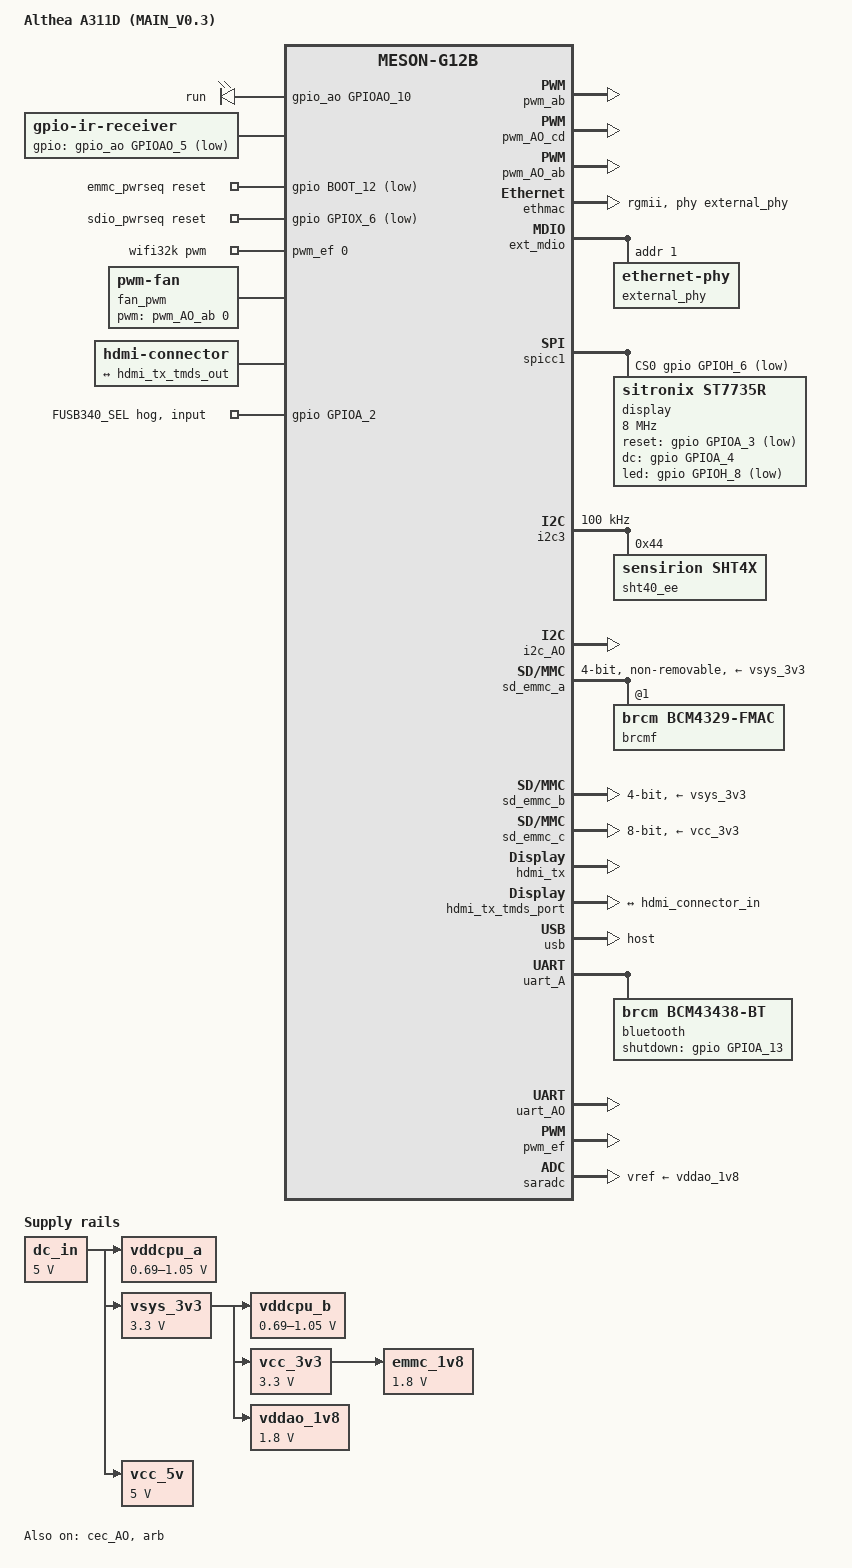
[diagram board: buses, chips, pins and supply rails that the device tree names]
// SPDX-License-Identifier: (GPL-2.0+ OR MIT)
/*
 * Althea A311D (MAIN_V0.3) — USB3.0 变体
 * 派生自 Khadas VIM3，骨架为 mainline 6.18。
 * 另一变体：meson-halo-a311d-pcie.dts（&pcie okay / &usb disabled）。
 * 两者只差 FUSB340 对 usb3_pcie_phy 的归属，见 docs/冷切换使用说明.md。
 */

/dts-v1/;

#include <dt-bindings/gpio/meson-g12a-gpio.h>
#include <dt-bindings/gpio/gpio.h>
#include <dt-bindings/leds/common.h>
#include <dt-bindings/input/linux-event-codes.h>
#include <dt-bindings/interrupt-controller/irq.h>
#include <dt-bindings/interrupt-controller/amlogic,meson-g12a-gpio-intc.h>
/* 只 include a311d 一份：s922x 的同名 opp-table 会被 dtc 合并成混搭表 */
#include "meson-g12b-a311d.dtsi"

/ {
	model = "Althea A311D (MAIN_V0.3)";
	compatible = "althea,a311d", "amlogic,a311d", "amlogic,g12b";

	aliases {
		serial0 = &uart_AO;
		ethernet0 = &ethmac;
		/* 无外置 RTC，用 SoC vrtc */
		rtc0 = &vrtc;
	};

	chosen {
		stdout-path = "serial0:115200n8";
	};

	/* 大核 A73 供电：MP8756GD，pwm_ab 通道 A */
	vddcpu_a: regulator-vddcpu-a {
		compatible = "pwm-regulator";
		regulator-name = "VDDCPU_A";
		regulator-min-microvolt = <690000>;
		regulator-max-microvolt = <1050000>;

		pwm-supply = <&dc_in>;
		pwms = <&pwm_ab 0 1250 0>;
		pwm-dutycycle-range = <100 0>;

		regulator-boot-on;
		regulator-always-on;
	};

	/* 小核 A53 供电：SY8030DEC，pwm_AO_cd 通道 D */
	vddcpu_b: regulator-vddcpu-b {
		compatible = "pwm-regulator";
		regulator-name = "VDDCPU_B";
		regulator-min-microvolt = <690000>;
		regulator-max-microvolt = <1050000>;

		pwm-supply = <&vsys_3v3>;
		pwms = <&pwm_AO_cd 1 1250 0>;
		pwm-dutycycle-range = <100 0>;

		regulator-boot-on;
		regulator-always-on;
	};

	dc_in: regulator-dc-in {
		compatible = "regulator-fixed";
		regulator-name = "DC_IN";
		regulator-min-microvolt = <5000000>;
		regulator-max-microvolt = <5000000>;
		regulator-always-on;
	};

	vsys_3v3: regulator-vsys-3v3 {
		compatible = "regulator-fixed";
		regulator-name = "VSYS_3V3";
		regulator-min-microvolt = <3300000>;
		regulator-max-microvolt = <3300000>;
		vin-supply = <&dc_in>;
		regulator-always-on;
	};

	vcc_5v: regulator-vcc-5v {
		compatible = "regulator-fixed";
		regulator-name = "VCC_5V";
		regulator-min-microvolt = <5000000>;
		regulator-max-microvolt = <5000000>;
		vin-supply = <&dc_in>;
		regulator-always-on;
	};

	/* MT9700 EN 已改电阻上拉常开 → GPIOAO_11 释放，不做 GPIO 使能 */
	vcc_3v3: regulator-vcc-3v3 {
		compatible = "regulator-fixed";
		regulator-name = "VCC_3V3";
		regulator-min-microvolt = <3300000>;
		regulator-max-microvolt = <3300000>;
		vin-supply = <&vsys_3v3>;
		regulator-always-on;
	};

	vddao_1v8: regulator-vddao-1v8 {
		compatible = "regulator-fixed";
		regulator-name = "VDDIO_AO1V8";
		regulator-min-microvolt = <1800000>;
		regulator-max-microvolt = <1800000>;
		vin-supply = <&vsys_3v3>;
		regulator-always-on;
	};

	emmc_1v8: regulator-emmc-1v8 {
		compatible = "regulator-fixed";
		regulator-name = "EMMC_AO1V8";
		regulator-min-microvolt = <1800000>;
		regulator-max-microvolt = <1800000>;
		vin-supply = <&vcc_3v3>;
		regulator-always-on;
	};

	/* LED4: NPN 低边开关，高电平点亮 → GPIO_ACTIVE_HIGH。
	 * 属性名必须是 linux,default-trigger / default-state（旧名内核不读）。 */
	leds {
		compatible = "gpio-leds";

		run_led {
			label = "run";
			gpios = <&gpio_ao GPIOAO_10 GPIO_ACTIVE_HIGH>;
			linux,default-trigger = "heartbeat";
			default-state = "on";
		};
	};

	ir-receiver {
		compatible = "gpio-ir-receiver";
		gpios = <&gpio_ao GPIOAO_5 GPIO_ACTIVE_LOW>;
	};

	/* eMMC 上电时序 */
	emmc_pwrseq: emmc-pwrseq {
		compatible = "mmc-pwrseq-emmc";
		reset-gpios = <&gpio BOOT_12 GPIO_ACTIVE_LOW>;
	};

	/* SDIO (AP6256) 上电时序 —— 用 GPIOX_6 */
	sdio_pwrseq: sdio-pwrseq {
		compatible = "mmc-pwrseq-simple";
		reset-gpios = <&gpio GPIOX_6 GPIO_ACTIVE_LOW>;
		clocks = <&wifi32k>;
		clock-names = "ext_clock";
		/* WL_REG_ON 释放后等待 AP6256 上电稳定 */
		post-power-on-delay-ms = <100>;
	};

	/* 32.768kHz 时钟（AP6256 需求） */
	wifi32k: wifi32k {
		compatible = "pwm-clock";
		#clock-cells = <0>;
		clock-frequency = <32768>;
		pwms = <&pwm_ef 0 30518 0>; /* PWM_E at 32.768KHz */
	};

	/* 风扇 PWM：pwm_AO_cd 的 D 通道已被 vddcpu_b 占用，改用 pwm_AO_ab(A)/GPIOAO_11。
	 * 驱动电路 layout 未完成，本节点仅预留通道，风扇不会转。 */
	fan_pwm: fan-pwm {
		compatible = "pwm-fan";
		pwms = <&pwm_AO_ab 0 1250 0>;
	};

	hdmi-connector {
		compatible = "hdmi-connector";
		type = "a";

		port {
			hdmi_connector_in: endpoint {
				remote-endpoint = <&hdmi_tx_tmds_out>;
			};
		};
	};

};

&cpu0 {
	cpu-supply = <&vddcpu_b>;      /* A53 小核 */
	operating-points-v2 = <&cpu_opp_table_0>;
	clocks = <&clkc CLKID_CPU_CLK>;
};

&cpu1 {
	cpu-supply = <&vddcpu_b>;
	operating-points-v2 = <&cpu_opp_table_0>;
	clocks = <&clkc CLKID_CPU_CLK>;
};

&cpu100 {
	cpu-supply = <&vddcpu_a>;      /* A73 大核 */
	operating-points-v2 = <&cpub_opp_table_1>;
	clocks = <&clkc CLKID_CPUB_CLK>;
};

&cpu101 {
	cpu-supply = <&vddcpu_a>;
	operating-points-v2 = <&cpub_opp_table_1>;
	clocks = <&clkc CLKID_CPUB_CLK>;
};

&cpu102 {
	cpu-supply = <&vddcpu_a>;
	operating-points-v2 = <&cpub_opp_table_1>;
	clocks = <&clkc CLKID_CPUB_CLK>;
};

&cpu103 {
	cpu-supply = <&vddcpu_a>;
	operating-points-v2 = <&cpub_opp_table_1>;
	clocks = <&clkc CLKID_CPUB_CLK>;
};

/* pwm_ab 通道0(A) → GPIOE_2 = VDDCPU_A_PWM（大核 A73） */
&pwm_ab {
	pinctrl-0 = <&pwm_a_e_pins>;
	pinctrl-names = "default";
	status = "okay";
};

/* pwm_AO_cd 通道1(D) → GPIOE_1 = VDDCPU_B_PWM（小核 A53） */
&pwm_AO_cd {
	pinctrl-0 = <&pwm_ao_d_e_pins>;
	pinctrl-names = "default";
	status = "okay";
};

/* pwm_AO_ab 通道0(A) → GPIOAO_11 = 散热风扇 PWM */
&pwm_AO_ab {
	pinctrl-0 = <&pwm_ao_a_pins>;
	pinctrl-names = "default";
	status = "okay";
};

/* YT8531H-CA @ MDIO addr 1（VIM3 是 0）。
 * phy-mode="rgmii" + amlogic,tx-delay-ns=<2>；不要写 rx-internal-delay-ps，
 * 不要用 rgmii-id/rgmii-rxid，底板 R62/R70 不贴（真机 1Gbps 验证）。 */
&ethmac {
	pinctrl-0 = <&eth_pins>, <&eth_rgmii_pins>;
	pinctrl-names = "default";
	status = "okay";
	phy-mode = "rgmii";
	phy-handle = <&external_phy>;
	amlogic,tx-delay-ns = <2>;
};

&ext_mdio {
	external_phy: ethernet-phy@1 {   /* ⚠ 非 VIM3 的 @0 */
		reg = <1>;
		max-speed = <1000>;

		/* RGMII_INT: GPIOZ_14，低有效 → 下降沿 */
		interrupt-parent = <&gpio_intc>;
		interrupts = <IRQID_GPIOZ_14 IRQ_TYPE_EDGE_FALLING>;

		/* LED1(绿)/LED2(黄) 与 CFG_LDO 复用；0x2670 = 任意速率链路 + 活动，
		 * 0x2640 = 1000M 链路 + 活动。需 patch/apply/meson64-6.18 的 motorcomm LED 支持。 */
		motorcomm,led1-config = <0x2670>;
		motorcomm,led2-config = <0x2640>;
	};
};

/* FUSB340 SEL(GPIOA_2) 决定 usb3_pcie_phy 归 PCIe 还是 USB3.0。
 * PHY 归属在 DTB 编译期定死，不能运行期热切换；冷切换由 U-Boot 按 strap
 * 选 fdtfile，见 docs/冷切换使用说明.md。 */

/* SPI_B 控制器 = SPI1，GPIOH_4~7 */
/* SS0 是独立 pinctrl 组，需单独列出 */
&spicc1 {
	status = "okay";

	pinctrl-0 = <&spicc1_pins>, <&spicc1_ss0_pins>;
	pinctrl-names = "default";

	num-cs = <1>;
	cs-gpios = <&gpio GPIOH_6 GPIO_ACTIVE_LOW>;	/* SPI_B_SS0 = GPIOH_6 */

	/* ST7735S 共用 fbtft 的 fb_st7735r（v6.18 无单独 st7735s）。
	 * 极性依 fbtft-core.c：RST/LED 低有效、DC 高有效；buswidth=8 必填。 */
	display@0 {
		compatible = "sitronix,st7735r";
		reg = <0>;
		spi-max-frequency = <8000000>;
		reset-gpios = <&gpio GPIOA_3 GPIO_ACTIVE_LOW>;
		dc-gpios = <&gpio GPIOA_4 GPIO_ACTIVE_HIGH>;
		led-gpios = <&gpio GPIOH_8 GPIO_ACTIVE_LOW>;
		buswidth = <8>;
	};
};

/* FUSB340 SEL 电平由板上选贴的上/下拉决定，U-Boot 读它选 dtb。
 * hog 必须是 gpio-controller 的子节点，且必须显式写 input（不驱动 strap）。
 * input hog 会占用该线，userspace 无法再 export。 */
&gpio {
	fusb340-sel-hog {
		gpio-hog;
		gpios = <GPIOA_2 GPIO_ACTIVE_HIGH>;
		input;
		line-name = "FUSB340_SEL";
	};
};

/* U42 SHT40 —— I2C3 @ GPIOA_14(SDA)/GPIOA_15(SCL) */
&i2c3 {
	status = "okay";
	pinctrl-0 = <&i2c3_sda_a_pins>, <&i2c3_sck_a_pins>;
	pinctrl-names = "default";
	clock-frequency = <100000>;

	sht40_ee: sht40@44 {
		compatible = "sensirion,sht4x";
		reg = <0x44>;
	};
};

/* AO 域 I2C 控制器保留但不挂设备：U45 的 SDA/SCL 在网表上悬空，
 * 板上也没有 RTC 芯片。 */
&i2c_AO {
	status = "okay";
	pinctrl-0 = <&i2c_ao_sck_pins>, <&i2c_ao_sda_pins>;
	pinctrl-names = "default";
};

&sd_emmc_a {
	status = "okay";
	pinctrl-0 = <&sdio_pins>;
	pinctrl-1 = <&sdio_clk_gate_pins>;
	pinctrl-names = "default", "clk-gate";
	#address-cells = <1>;
	#size-cells = <0>;

	bus-width = <4>;
	cap-sd-highspeed;
	/* 25MHz：50MHz 下 F1 backplane 读回全 0xff（信号完整性），真机 25MHz
	 * F1=0x15294345、wlan0 可用。不要调回 100MHz，也不要改 1-bit。 */
	max-frequency = <25000000>;

	non-removable;
	disable-wp;
	keep-power-in-suspend;   /* WiFi 固件要求挂起时保持供电 */

	mmc-pwrseq = <&sdio_pwrseq>;

	vmmc-supply = <&vsys_3v3>;
	vqmmc-supply = <&vddao_1v8>;

	brcmf: wifi@1 {
		reg = <1>;
		compatible = "brcm,bcm4329-fmac";
	};
};

&sd_emmc_b {
	status = "okay";
	pinctrl-0 = <&sdcard_c_pins>;
	pinctrl-1 = <&sdcard_clk_gate_c_pins>;
	pinctrl-names = "default", "clk-gate";

	bus-width = <4>;
	cap-sd-highspeed;
	max-frequency = <50000000>;
	disable-wp;

	vmmc-supply = <&vsys_3v3>;
	vqmmc-supply = <&vsys_3v3>;
};

&sd_emmc_c {
	status = "okay";
	pinctrl-0 = <&emmc_ctrl_pins>, <&emmc_data_8b_pins>, <&emmc_ds_pins>;
	pinctrl-1 = <&emmc_clk_gate_pins>;
	pinctrl-names = "default", "clk-gate";

	bus-width = <8>;
	cap-mmc-highspeed;
	mmc-ddr-1_8v;
	mmc-hs200-1_8v;
	max-frequency = <200000000>;
	disable-wp;

	mmc-pwrseq = <&emmc_pwrseq>;
	vmmc-supply = <&vcc_3v3>;
	vqmmc-supply = <&emmc_1v8>;
};

&hdmi_tx {
	status = "okay";
	pinctrl-0 = <&hdmitx_hpd_pins>, <&hdmitx_ddc_pins>;
	pinctrl-names = "default";
	hdmi-supply = <&vcc_5v>;
};

&hdmi_tx_tmds_port {
	hdmi_tx_tmds_out: endpoint {
		remote-endpoint = <&hdmi_connector_in>;
	};
};

/* CEC：底板经 Q6/Q7(MS3134) 电平转换 → CN1-51/49 */
&cec_AO {
	pinctrl-0 = <&cec_ao_a_h_pins>;
	pinctrl-names = "default";
	status = "okay";
	hdmi-phandle = <&hdmi_tx>;
};

&usb2_phy0 {
	phy-supply = <&dc_in>;
};

&usb2_phy1 {
	phy-supply = <&vcc_5v>;
};

&usb3_pcie_phy {
	phy-supply = <&vcc_5v>;
};

/* glue 的 dr_mode 决定 usb2_phy1 的 U2P_R0_HOST_DEVICE：peripheral 会让
 * OTG 口进 device 模式，两条 USB 路径都不枚举。必须 host。 */
&usb {
	status = "okay";
	dr_mode = "host";
};

&pcie {
	status = "disabled";
};

&uart_A {
	status = "okay";
	pinctrl-0 = <&uart_a_pins>, <&uart_a_cts_rts_pins>;
	pinctrl-names = "default";
	uart-has-rtscts;

	/* BT_REG_ON 由 GPIOA_13 驱动；缺 shutdown-gpios 时该脚被下拉，
	 * BT 永远在复位（BCM: Reset failed -110）。hci_bcm.c 需 ACTIVE_HIGH。 */
	bluetooth {
		compatible = "brcm,bcm43438-bt";
		max-speed = <2000000>;
		clocks = <&wifi32k>;
		clock-names = "lpo";
		shutdown-gpios = <&gpio GPIOA_13 GPIO_ACTIVE_HIGH>;
	};
};

&uart_AO {
	status = "okay";
	pinctrl-0 = <&uart_ao_a_pins>;
	pinctrl-names = "default";
};

&arb {
	status = "okay";
};

&clkc_audio {
	status = "okay";
};

&pwm_ef {
	status = "okay";
	pinctrl-0 = <&pwm_e_pins>;
	pinctrl-names = "default";
};

/* SARADC：SW5 未贴、SARADC_CH0/CH3 悬空 → 不用 adc-keys */
&saradc {
	status = "okay";
	vref-supply = <&vddao_1v8>;
};

/* SPI NOR：与 eMMC 数据线冲突 → 保持 disabled（VIM3 原样） */
&spifc {
	status = "disabled";
};
